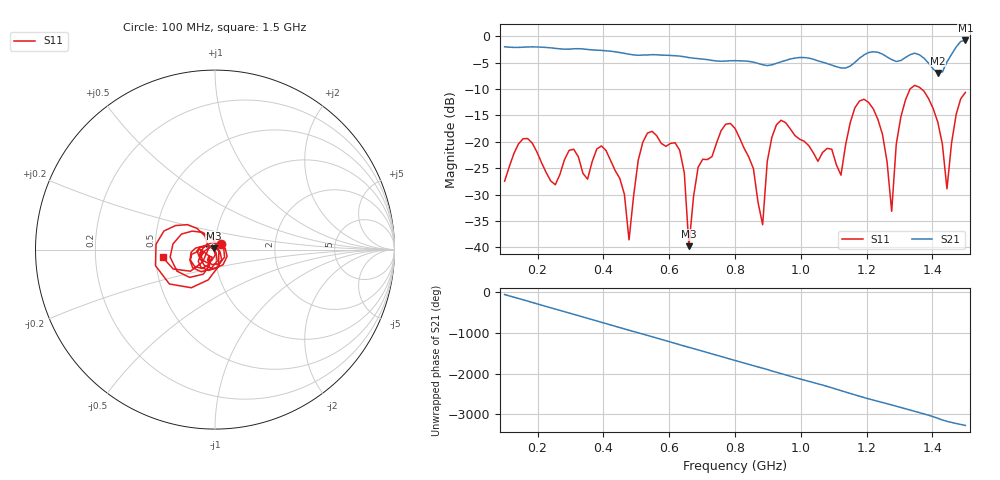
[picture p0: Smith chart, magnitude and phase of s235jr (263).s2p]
! NanoVNA-App
! Date: 2025-09-25 15:06:12
! Start: 100MHz Stop: 1,5GHz Points: 101
! S-Parameter data: F S11 S21 S12 S22
# Hz S RI R 50
!  Frequency  S11_Real  S11_Imag  S21_Real  S21_Imag  S12_Real  S12_Imag  S22_Real  S22_Imag
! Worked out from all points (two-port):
!   101 points, 100 MHz to 1.5 GHz, reference 50 ohm
!   highest |S21| = -0.76 dB at 1.5 GHz (marker M1); lowest = -6.9 dB at 1.416 GHz (marker M2)
!   |S21| within 3 dB of the highest: start of sweep to 635.4 MHz; 1.186 GHz to 1.259 GHz (72.22 MHz wide, 5.91 % of centre) (the widest 2 of 4)
!   lowest |S11| = -39.8 dB at 660 MHz (marker M3), VSWR 1.02, Z = 49.2 + j0.615 ohm
!   |S11| at or under -10 dB: start of sweep to 1.332 GHz; 1.367 GHz to end of sweep
!   S12 and S22 are empty: the file has one direction only
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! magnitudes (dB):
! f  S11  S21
! 100 MHz  -27.5  -2.0
! 156 MHz  -19.4  -2.0
! 338 MHz  -26.0  -2.4
! 408 MHz  -21.6  -2.7
! 478 MHz  -38.6  -3.4
! 520 MHz  -20.1  -3.5
! 576 MHz  -20.3  -3.5
! 632 MHz  -21.6  -3.7
! 660 MHz  -39.8  -4.0
! 688 MHz  -24.8  -4.2
! 800 MHz  -17.4  -4.6
! 884 MHz  -35.7  -5.4
! 926 MHz  -16.8  -5.1
! 1.038 GHz  -22.1  -4.3
! 1.122 GHz  -26.3  -6.0
! 1.206 GHz  -12.5  -3.0
! 1.276 GHz  -33.2  -4.4
! 1.29 GHz  -20.4  -4.8
! 1.332 GHz  -9.9  -3.5
! 1.416 GHz  -16.2  -6.9
! 1.444 GHz  -28.9  -4.9
! 1.5 GHz  -10.6  -0.8
